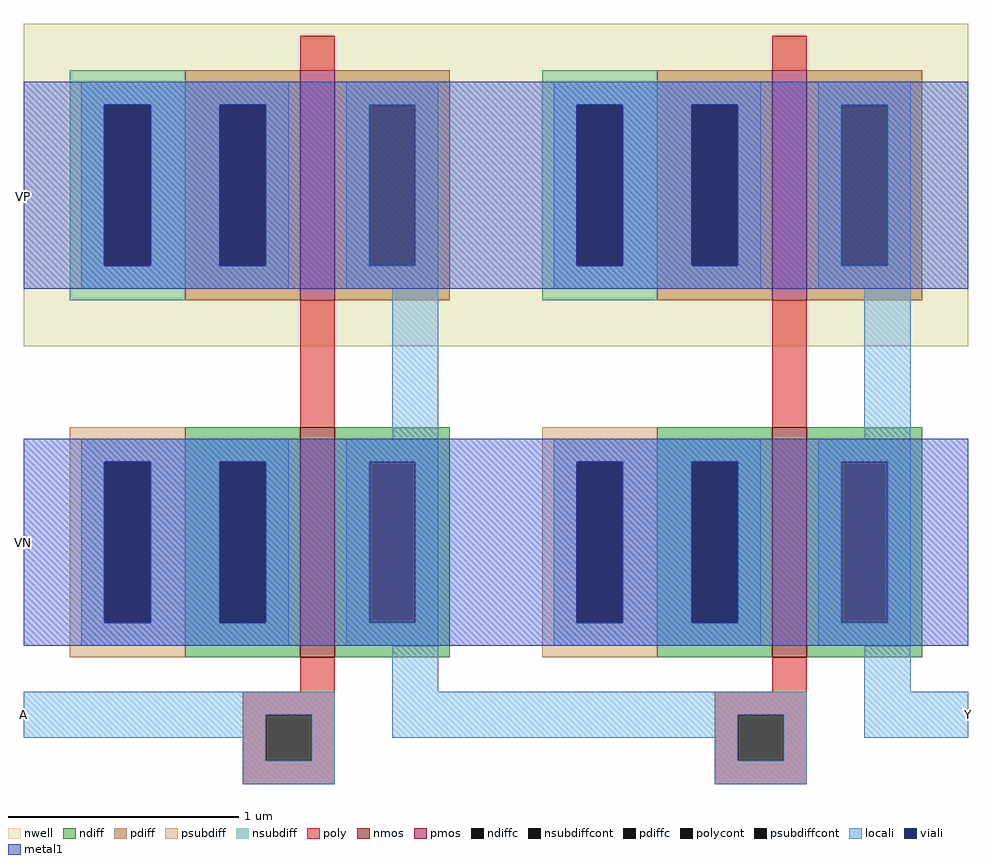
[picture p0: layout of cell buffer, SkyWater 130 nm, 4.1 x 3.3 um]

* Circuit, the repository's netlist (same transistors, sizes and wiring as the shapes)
* SPICE3 file created from buffer.ext - technology: sky130A

.subckt inverter A Y VP VN
X0 Y A VN VN sky130_fd_pr__nfet_01v8 ad=5e+11p pd=3e+06u as=5e+11p ps=3e+06u w=1e+06u l=150000u
X1 Y A VP VP sky130_fd_pr__pfet_01v8 ad=5e+11p pd=3e+06u as=5e+11p ps=3e+06u w=1e+06u l=150000u
.ends


* Top level circuit buffer

Xinverter_0 A inverter_1/A VP VN inverter
Xinverter_1 inverter_1/A Y VP VN inverter
.end

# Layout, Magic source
magic
tech sky130A
<< locali >>
rect -120 -40 -100 -20
rect 270 -40 290 -20
<< metal1 >>
rect -120 155 -100 245
rect -120 0 -100 90
use inverter  inverter_1
transform 1 0 615 0 1 140
box -530 -200 -325 130
use inverter  inverter_0
transform 1 0 410 0 1 140
box -530 -200 -325 130
<< labels >>
rlabel locali -120 -30 -120 -30 7 A
rlabel locali 290 -30 290 -30 3 Y
rlabel metal1 -120 45 -120 45 7 VN
rlabel metal1 -120 195 -120 195 7 VP
<< end >>

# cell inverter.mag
magic
tech sky130A
<< nwell >>
rect -530 -10 -325 130
<< nmos >>
rect -410 -145 -395 -45
<< pmos >>
rect -410 10 -395 110
<< ndiff >>
rect -460 -60 -410 -45
rect -460 -130 -445 -60
rect -425 -130 -410 -60
rect -460 -145 -410 -130
rect -395 -60 -345 -45
rect -395 -130 -380 -60
rect -360 -130 -345 -60
rect -395 -145 -345 -130
<< pdiff >>
rect -460 95 -410 110
rect -460 25 -445 95
rect -425 25 -410 95
rect -460 10 -410 25
rect -395 95 -345 110
rect -395 25 -380 95
rect -360 25 -345 95
rect -395 10 -345 25
<< ndiffc >>
rect -445 -130 -425 -60
rect -380 -130 -360 -60
<< pdiffc >>
rect -445 25 -425 95
rect -380 25 -360 95
<< psubdiff >>
rect -510 -60 -460 -45
rect -510 -130 -495 -60
rect -475 -130 -460 -60
rect -510 -145 -460 -130
<< nsubdiff >>
rect -510 95 -460 110
rect -510 25 -495 95
rect -475 25 -460 95
rect -510 10 -460 25
<< psubdiffcont >>
rect -495 -130 -475 -60
<< nsubdiffcont >>
rect -495 25 -475 95
<< poly >>
rect -410 110 -395 125
rect -410 -45 -395 10
rect -410 -160 -395 -145
rect -435 -170 -395 -160
rect -435 -190 -425 -170
rect -405 -190 -395 -170
rect -435 -200 -395 -190
<< polycont >>
rect -425 -190 -405 -170
<< locali >>
rect -505 95 -415 105
rect -505 25 -495 95
rect -475 25 -445 95
rect -425 25 -415 95
rect -505 15 -415 25
rect -390 95 -350 105
rect -390 25 -380 95
rect -360 25 -350 95
rect -390 15 -350 25
rect -370 -50 -350 15
rect -505 -60 -415 -50
rect -505 -130 -495 -60
rect -475 -130 -445 -60
rect -425 -130 -415 -60
rect -505 -140 -415 -130
rect -390 -60 -350 -50
rect -390 -130 -380 -60
rect -360 -130 -350 -60
rect -390 -140 -350 -130
rect -370 -160 -350 -140
rect -530 -170 -395 -160
rect -530 -180 -425 -170
rect -435 -190 -425 -180
rect -405 -190 -395 -170
rect -370 -180 -325 -160
rect -435 -200 -395 -190
<< viali >>
rect -495 25 -475 95
rect -445 25 -425 95
rect -495 -130 -475 -60
rect -445 -130 -425 -60
<< metal1 >>
rect -530 95 -325 105
rect -530 25 -495 95
rect -475 25 -445 95
rect -425 25 -325 95
rect -530 15 -325 25
rect -530 -60 -325 -50
rect -530 -130 -495 -60
rect -475 -130 -445 -60
rect -425 -130 -325 -60
rect -530 -140 -325 -130
<< labels >>
rlabel space -510 -160 -345 -30 1 :
rlabel locali -530 -170 -530 -170 7 A
port 1 w
rlabel locali -325 -170 -325 -170 3 Y
port 2 e
rlabel metal1 -530 -96 -530 -95 7 VN
port 4 w
rlabel metal1 -530 60 -530 60 7 VP
port 3 w
<< end >>
